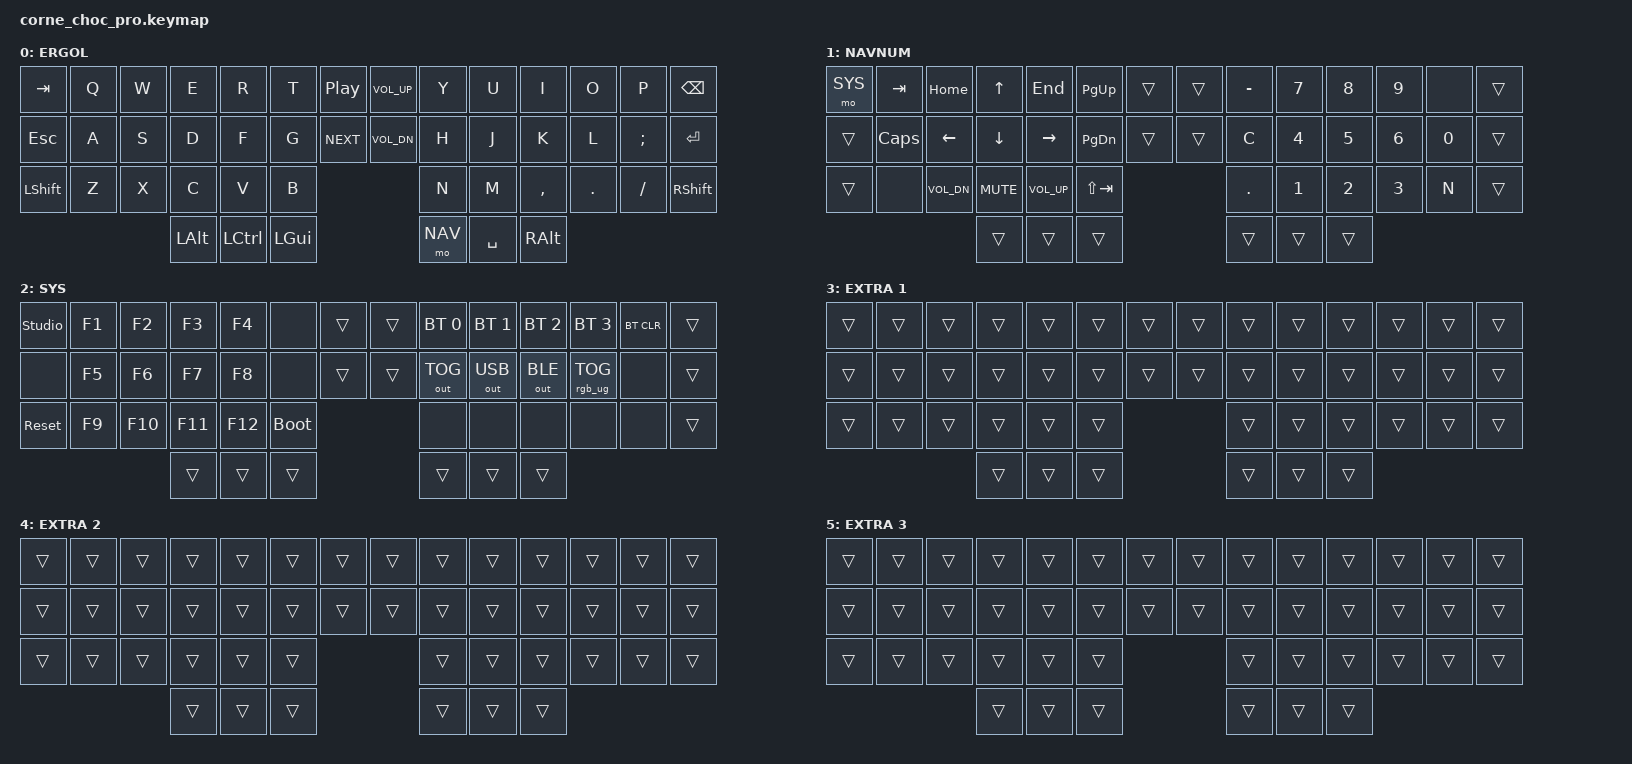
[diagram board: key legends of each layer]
/*
 * Copyright (c) 2020 The ZMK Contributors
 *
 * SPDX-License-Identifier: MIT
 */

#include <behaviors.dtsi>
#include <dt-bindings/zmk/keys.h>
#include <dt-bindings/zmk/bt.h>
#include <dt-bindings/zmk/outputs.h>
#include <dt-bindings/zmk/rgb.h>

/*
 * Ergo-L on a Corne Choc Pro.
 *
 * The keyboard does NOT emulate Ergo-L: it sends plain US key positions and
 * the Ergo-L driver installed on the operating system produces the actual
 * characters. This is the method recommended by ergol.org; emulating the
 * layout in firmware is explicitly discouraged.
 *
 * The EL_* defines below exist only to make this file readable. Each one
 * resolves to the US position that Ergo-L maps to that character - no
 * translation, no macros, no Unicode.
 */

/* Upper row */
#define EL_Q      Q       /* q */
#define EL_C      W       /* c */
#define EL_O      E       /* o */
#define EL_P      R       /* p */
#define EL_W      T       /* w */
#define EL_J      Y       /* j */
#define EL_M      U       /* m */
#define EL_D      I       /* d */
#define EL_1DK    O       /* 1DK - Ergo-L dead key */
#define EL_Y      P       /* y */

/* Home row */
#define EL_A      A       /* a */
#define EL_S      S       /* s */
#define EL_E      D       /* e */
#define EL_N      F       /* n */
#define EL_F      G       /* f */
#define EL_L      H       /* l */
#define EL_R      J       /* r */
#define EL_T      K       /* t */
#define EL_I      L       /* i */
#define EL_U      SEMI    /* u */

/* Lower row */
#define EL_Z      Z       /* z */
#define EL_X      X       /* x */
#define EL_DASH   C       /* -  (shifted: ?) */
#define EL_V      V       /* v */
#define EL_B      B       /* b */
#define EL_DOT    N       /* .  (shifted: :) */
#define EL_H      M       /* h */
#define EL_G      COMMA   /* g */
#define EL_COMMA  DOT     /* ,  (shifted: ;) */
#define EL_K      FSLH    /* k */

/* Punctuation reachable from the layers */
#define EL_SLASH  MINUS   /* /  (shifted: _) */
#define EL_EQUAL  EQUAL   /* =  (shifted: +) */

/* Layers */
#define BASE 0
#define NAV  1
#define SYS  2

/ {
    chosen {
        zmk,physical-layout = &default_layout;
    };
};

/ {
    keymap {
        compatible = "zmk,keymap";

        base_layer {
            display-name = "ERGOL";
            // ---------------------------------------------------------------------------------------------
            // Ce qui s'affiche a l'ecran, avec le pilote Ergo-L installe sur le systeme :
            // | TAB  |  q  |  c  |  o  |  p  |  w  |  PP  | VOL+ |  j  |  m  |  d  | 1DK |  y  | BSPC |
            // | ESC  |  a  |  s  |  e  |  n  |  f  | NEXT | VOL- |  l  |  r  |  t  |  i  |  u  | RET  |
            // | SHFT |  z  |  x  |  -  |  v  |  b  |             |  .  |  h  |  g  |  ,  |  k  | SHFT |
            //                    | ALT | CTRL | GUI |             | NAV | SPC | AGR |
            //
            // Ce que le clavier envoie reellement (codes US) - inchange par rapport au keymap d'origine :
            // | TAB  |  Q  |  W  |  E  |  R  |  T  |  PP  | VOL+ |  Y  |  U  |  I  |  O  |  P  | BSPC |
            // | ESC  |  A  |  S  |  D  |  F  |  G  | NEXT | VOL- |  H  |  J  |  K  |  L  |  ;  | RET  |
            // | SHFT |  Z  |  X  |  C  |  V  |  B  |             |  N  |  M  |  ,  |  .  |  /  | SHFT |
            //                    | ALT | CTRL | GUI |             | NAV | SPC | AGR |
            bindings = <
                &kp TAB   &kp EL_Q &kp EL_C &kp EL_O &kp EL_P &kp EL_W &kp C_PP   &kp C_VOL_UP &kp EL_J   &kp EL_M &kp EL_D &kp EL_1DK   &kp EL_Y &kp BSPC
                &kp ESC   &kp EL_A &kp EL_S &kp EL_E &kp EL_N &kp EL_F &kp C_NEXT &kp C_VOL_DN &kp EL_L   &kp EL_R &kp EL_T &kp EL_I     &kp EL_U &kp RET
                &kp LSHFT &kp EL_Z &kp EL_X &kp EL_DASH &kp EL_V &kp EL_B                      &kp EL_DOT &kp EL_H &kp EL_G &kp EL_COMMA &kp EL_K &kp RSHFT
                                             &kp LALT &kp LCTRL &kp LGUI                       &mo NAV    &kp SPACE &kp RALT
            >;
        };

        nav_layer {
            display-name = "NAVNUM";
            // ---------------------------------------------------------------------------------------------
            // | SYS  | TAB  | HOME | UP   | END  | PGUP |      |      |  /  |  7  |  8  |  9  |     |     |
            // |      | CAPS | LEFT | DOWN | RGHT | PGDN |      |      |  -  |  4  |  5  |  6  |  0  |     |
            // |      |      | VOL- | MUTE | VOL+ | STAB |             |  ,  |  1  |  2  |  3  |  .  |     |
            //                      |      |      |      |             |     |     |     |
            bindings = <
                &mo SYS &kp TAB  &kp HOME     &kp UP      &kp END      &kp PG_UP  &trans &trans &kp EL_SLASH &kp N7 &kp N8 &kp N9 &none  &trans
                &trans  &kp CAPS &kp LEFT     &kp DOWN    &kp RIGHT    &kp PG_DN  &trans &trans &kp EL_DASH  &kp N4 &kp N5 &kp N6 &kp N0 &trans
                &trans  &none    &kp C_VOL_DN &kp C_MUTE  &kp C_VOL_UP &kp LS(TAB)              &kp EL_COMMA &kp N1 &kp N2 &kp N3 &kp EL_DOT &trans
                                              &trans      &trans       &trans                  &trans       &trans &trans
            >;
        };

        sys_layer {
            display-name = "SYS";
            // ---------------------------------------------------------------------------------------------
            // | UNLK | F1 | F2  | F3  | F4  |      |  |  | BT0 | BT1 | BT2 | BT3 | BTCLR |     |
            // |      | F5 | F6  | F7  | F8  |      |  |  | OUT | USB | BLE | RGB |       |     |
            // | RST  | F9 | F10 | F11 | F12 | BOOT |     |     |     |     |     |       |     |
            //                   |     |     |      |     |     |     |     |
            bindings = <
                &studio_unlock &kp F1 &kp F2  &kp F3  &kp F4  &none       &trans &trans &bt BT_SEL 0 &bt BT_SEL 1 &bt BT_SEL 2 &bt BT_SEL 3    &bt BT_CLR &trans
                &none          &kp F5 &kp F6  &kp F7  &kp F8  &none       &trans &trans &out OUT_TOG &out OUT_USB &out OUT_BLE &rgb_ug RGB_TOG &none      &trans
                &sys_reset     &kp F9 &kp F10 &kp F11 &kp F12 &bootloader               &none        &none        &none        &none           &none      &trans
                                              &trans  &trans  &trans                    &trans       &trans       &trans
            >;
        };

        extra_layer_1 {
            display-name = "EXTRA 1";
            bindings = <
                &trans &trans &trans &trans &trans &trans &trans &trans &trans &trans &trans &trans &trans &trans
                &trans &trans &trans &trans &trans &trans &trans &trans &trans &trans &trans &trans &trans &trans
                &trans &trans &trans &trans &trans &trans               &trans &trans &trans &trans &trans &trans
                                     &trans &trans &trans               &trans &trans &trans
            >;
        };

        extra_layer_2 {
            display-name = "EXTRA 2";
            bindings = <
                &trans &trans &trans &trans &trans &trans &trans &trans &trans &trans &trans &trans &trans &trans
                &trans &trans &trans &trans &trans &trans &trans &trans &trans &trans &trans &trans &trans &trans
                &trans &trans &trans &trans &trans &trans               &trans &trans &trans &trans &trans &trans
                                     &trans &trans &trans               &trans &trans &trans
            >;
        };

        extra_layer_3 {
            display-name = "EXTRA 3";
            bindings = <
                &trans &trans &trans &trans &trans &trans &trans &trans &trans &trans &trans &trans &trans &trans
                &trans &trans &trans &trans &trans &trans &trans &trans &trans &trans &trans &trans &trans &trans
                &trans &trans &trans &trans &trans &trans               &trans &trans &trans &trans &trans &trans
                                     &trans &trans &trans               &trans &trans &trans
            >;
        };
    };
};
